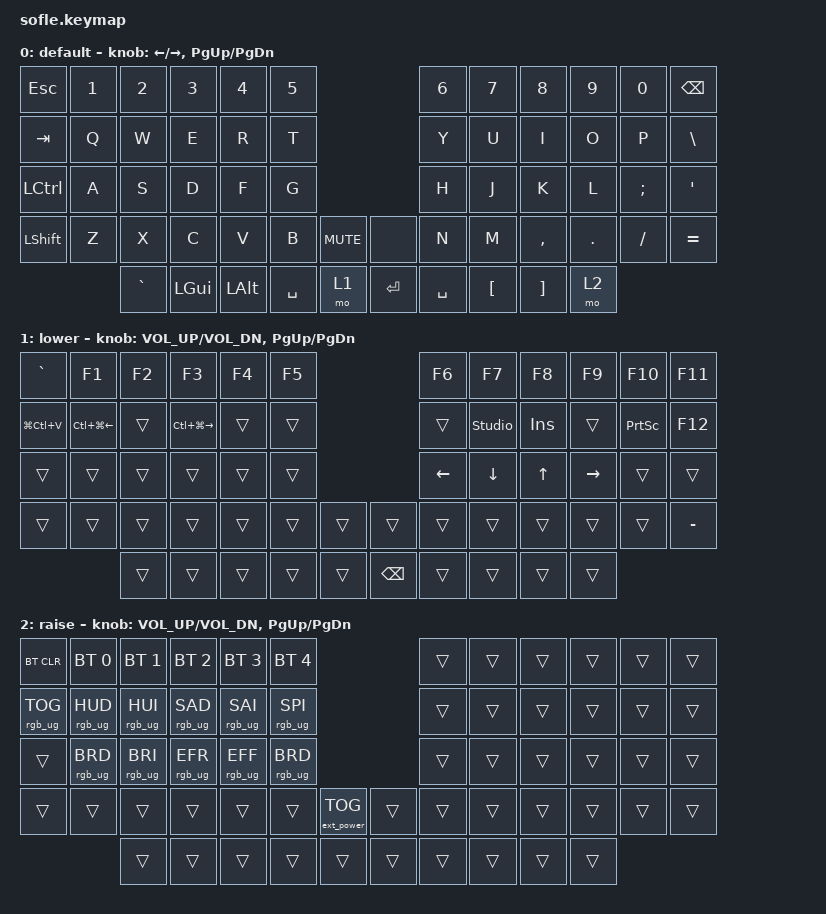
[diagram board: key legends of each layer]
/*
 * Copyright (c) 2020 The ZMK Contributors
 *
 * SPDX-License-Identifier: MIT
 */

#include <behaviors.dtsi>
#include <dt-bindings/zmk/bt.h>
#include <dt-bindings/zmk/ext_power.h>
#include <dt-bindings/zmk/keys.h>
#include <dt-bindings/zmk/rgb.h>

#define BASE 0
#define LOWER 1
#define RAISE 2
#define ADJUST 3

/ {
    // Activate ADJUST layer by pressing raise and lower

    conditional_layers {
        compatible = "zmk,conditional-layers";

        adjust_layer {
            if-layers = <1 2>;
            then-layer = <3>;
        };
    };

    keymap {
        compatible = "zmk,keymap";

        default_layer {
            display-name = "default";

            // ------------------------------------------------------------------------------------------------------------
            // |   `   |  1  |  2  |  3   |  4   |  5   |                   |  6   |  7    |  8    |  9   |   0   |       |
            // |  ESC  |  Q  |  W  |  E   |  R   |  T   |                   |  Y   |  U    |  I    |  O   |   P   | BKSPC |
            // |  TAB  |  A  |  S  |  D   |  F   |  G   |                   |  H   |  J    |  K    |  L   |   ;   |   '   |
            // | SHIFT |  Z  |  X  |  C   |  V   |  B   |  MUTE  |  |       |  N   |  M    |  ,    |  .   |   /   | SHIFT |
            //               | GUI | ALT  | CTRL | LOWER|  ENTER |  | SPACE | RAISE| CTRL  | ALT   | GUI  |

            bindings = <
&kp ESC    &kp N1  &kp N2     &kp N3        &kp N4        &kp N5                              &kp N6     &kp N7            &kp N8             &kp N9   &kp N0    &kp BACKSPACE
&kp TAB    &kp Q   &kp W      &kp E         &kp R         &kp T                               &kp Y      &kp U             &kp I              &kp O    &kp P     &kp BACKSLASH
&kp LCTRL  &kp A   &kp S      &kp D         &kp F         &kp G                               &kp H      &kp J             &kp K              &kp L    &kp SEMI  &kp SQT
&kp LSHFT  &kp Z   &kp X      &kp C         &kp V         &kp B      &kp C_MUTE    &none      &kp N      &kp M             &kp COMMA          &kp DOT  &kp FSLH  &kp EQUAL
                   &kp GRAVE  &kp LEFT_GUI  &kp LEFT_ALT  &kp SPACE  &mo 1         &kp ENTER  &kp SPACE  &kp LEFT_BRACKET  &kp RIGHT_BRACKET  &mo 2
            >;

            sensor-bindings =
                <&inc_dec_kp LEFT RIGHT>,
                <&inc_dec_kp PG_UP PG_DN>;
        };

        lower_layer {
            display-name = "lower";

            // TODO: Some binds are waiting for shifted keycode support.
            // ------------------------------------------------------------------------------------------------------------
            // |       |  F1 |  F2 |  F3  |  F4  |  F5  |                   |  F6  |  F7   |  F8   |  F9  |  F10  |  F11  |
            // |   `   |  1  |  2  |  3   |  4   |  5   |                   |  6   |  7    |  8    |  9   |   0   |  F12  |
            // |       |  !  |  @  |  #   |  $   |  %   |                   |  ^   |  &    |  *    |  (   |   )   |   |   |
            // |       |  =  |  -  |  +   |  {   |  }   |        |  |       |  [   |  ]    |  ;    |  :   |   \   |       |
            //               |     |      |      |      | UNLOCK |  |       |      |       |       |      |

            bindings = <
&kp GRAVE      &kp F1            &kp F2  &kp F3             &kp F4  &kp F5                           &kp F6          &kp F7          &kp F8        &kp F9     &kp F10          &kp F11
&kp LG(LC(V))  &kp LC(LG(LEFT))  &trans  &kp LC(LG(RIGHT))  &trans  &trans                           &trans          &studio_unlock  &kp INSERT    &trans     &kp PRINTSCREEN  &kp F12
&trans         &trans            &trans  &trans             &trans  &trans                           &kp LEFT_ARROW  &kp DOWN        &kp UP_ARROW  &kp RIGHT  &trans           &trans
&trans         &trans            &trans  &trans             &trans  &trans  &trans    &trans         &trans          &trans          &trans        &trans     &trans           &kp MINUS
                                 &trans  &trans             &trans  &trans  &trans    &kp BACKSPACE  &trans          &trans          &trans        &trans
            >;

            sensor-bindings = <&inc_dec_kp C_VOL_UP C_VOL_DN &inc_dec_kp PG_UP PG_DN>;
        };

        raise_layer {
            display-name = "raise";

            // ------------------------------------------------------------------------------------------------------------
            // | BTCLR | BT1  | BT2  |  BT3  |  BT4  |  BT5 |                |      |      |       |      |       |       |
            // |       | INS  | PSCR | GUI   |       |      |                | PGUP |      |   ^   |      |       |       |
            // |       | ALT  | CTRL | SHIFT |       | CAPS |                | PGDN |   <- |   v   |  ->  |  DEL  | BKSPC |
            // |       | UNDO | CUT  | COPY  | PASTE |      |      |  |      |      |      |       |      |       |       |
            //                |      |       |       |      |      |  |      |      |      |       |      |

            bindings = <
&bt BT_CLR       &bt BT_SEL 0     &bt BT_SEL 1     &bt BT_SEL 2     &bt BT_SEL 3     &bt BT_SEL 4                                  &trans  &trans  &trans  &trans  &trans  &trans
&rgb_ug RGB_TOG  &rgb_ug RGB_HUD  &rgb_ug RGB_HUI  &rgb_ug RGB_SAD  &rgb_ug RGB_SAI  &rgb_ug RGB_SPI                               &trans  &trans  &trans  &trans  &trans  &trans
&trans           &rgb_ug RGB_BRD  &rgb_ug RGB_BRI  &rgb_ug RGB_EFR  &rgb_ug RGB_EFF  &rgb_ug RGB_BRD                               &trans  &trans  &trans  &trans  &trans  &trans
&trans           &trans           &trans           &trans           &trans           &trans           &ext_power EP_TOG    &trans  &trans  &trans  &trans  &trans  &trans  &trans
                                  &trans           &trans           &trans           &trans           &trans               &trans  &trans  &trans  &trans  &trans
            >;

            sensor-bindings = <&inc_dec_kp C_VOL_UP C_VOL_DN &inc_dec_kp PG_UP PG_DN>;
        };
    };
};
